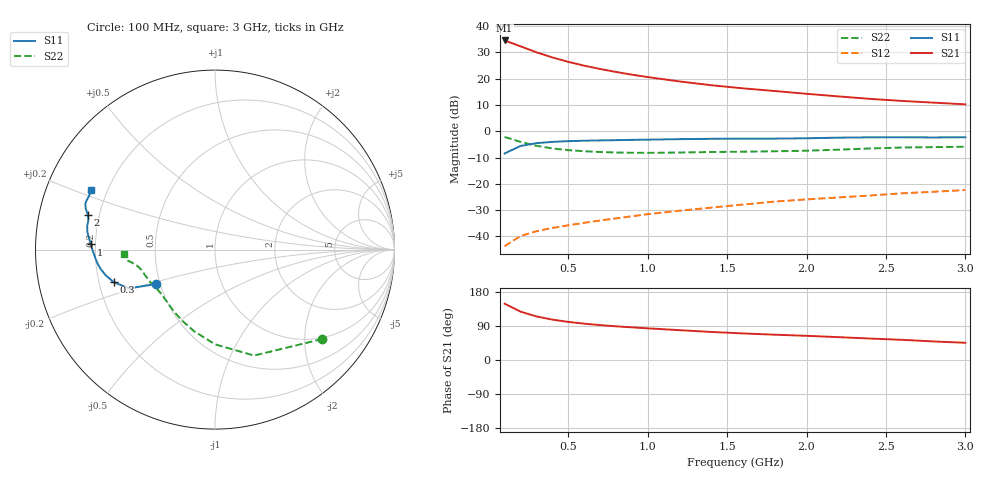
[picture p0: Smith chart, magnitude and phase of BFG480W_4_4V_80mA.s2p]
! Filename: 4_480BFG480.001
! Title: BFG480W
! Bias: Vce=4.4V; Ic=80mA
! Company: Philips Semiconductors NL
! User: Quality&Reliability T&D
! Measure time: 10 Nov 1999 / 12:06:37
#  MHz  S  MA  R 50
! Freq  S11  S21  S12  S22  :
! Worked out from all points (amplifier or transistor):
!   20 points, 100 MHz to 3 GHz, reference 50 ohm
!   highest |S21| = 34.5 dB at 100 MHz (marker M1)
!   |S21| within 3 dB of that: start of sweep to 234.2 MHz
!   unconditionally stable (mu >= 1): 799.3 MHz to end of sweep
!   at 400 MHz: K = 0.75, MSG = 32.4 dB, |S12| = -36.8 dB
!   at 1.2 GHz: K = 1.07, MAG = 23.0 dB, |S12| = -30.2 dB
!   at 3 GHz: K = 1.05, MAG = 15.0 dB, |S12| = -22.4 dB
!   S11 on the Smith chart (normalised r, x): 100 MHz: 0.48, -0.21; 300 MHz: 0.26, -0.15; 1 GHz: 0.18, +0.02; 2 GHz: 0.16, +0.13; 3 GHz: 0.14, +0.23
100  0.378 -149.6  53.13 148.6  0.006539 68.0  0.7783 -39.8
200  0.5248 -155.7  41.11 127.7  0.0102 59.1  0.6293 -69.8
300  0.5932 -162.2  31.71 115.0  0.01256 57.4  0.5283 -89.8
400  0.6278 -167.1  25.29 106.6  0.0145 58.3  0.4709 -104.0
500  0.6479 -170.7  20.88 100.6  0.01627 60.1  0.4374 -114.3
600  0.6607 -173.7  17.66 95.9  0.01814 62.2  0.4168 -122.2
700  0.6694 -176.2  15.27 92.1  0.02007 64.4  0.4032 -128.3
800  0.6767 -178.4  13.4 88.9  0.02204 66.2  0.3942 -133.4
900  0.6851 179.5  11.91 86.2  0.02418 68.3  0.3895 -137.8
1000  0.692 177.6  10.71 83.6  0.02648 69.5  0.3881 -141.8
1200  0.7071 174.4  8.846 78.7  0.03085 71.4  0.3936 -148.2
1400  0.7181 172.0  7.493 74.0  0.03531 72.7  0.4029 -153.0
1600  0.7241 169.6  6.536 70.2  0.04042 73.7  0.409 -156.7
1800  0.7239 166.9  5.812 66.8  0.04601 74.5  0.416 -160.5
2000  0.7345 164.7  5.145 63.8  0.05063 75.5  0.4266 -165.0
2200  0.7551 162.5  4.594 60.3  0.05512 75.3  0.4461 -168.8
2400  0.7656 160.7  4.121 56.6  0.05994 75.0  0.4707 -171.3
2600  0.7666 159.1  3.768 53.3  0.06605 74.5  0.4902 -172.8
2800  0.7623 156.8  3.496 48.9  0.07075 73.1  0.4994 -174.6
3000  0.7673 154.1  3.247 45.5  0.07609 72.5  0.507 -177.5
